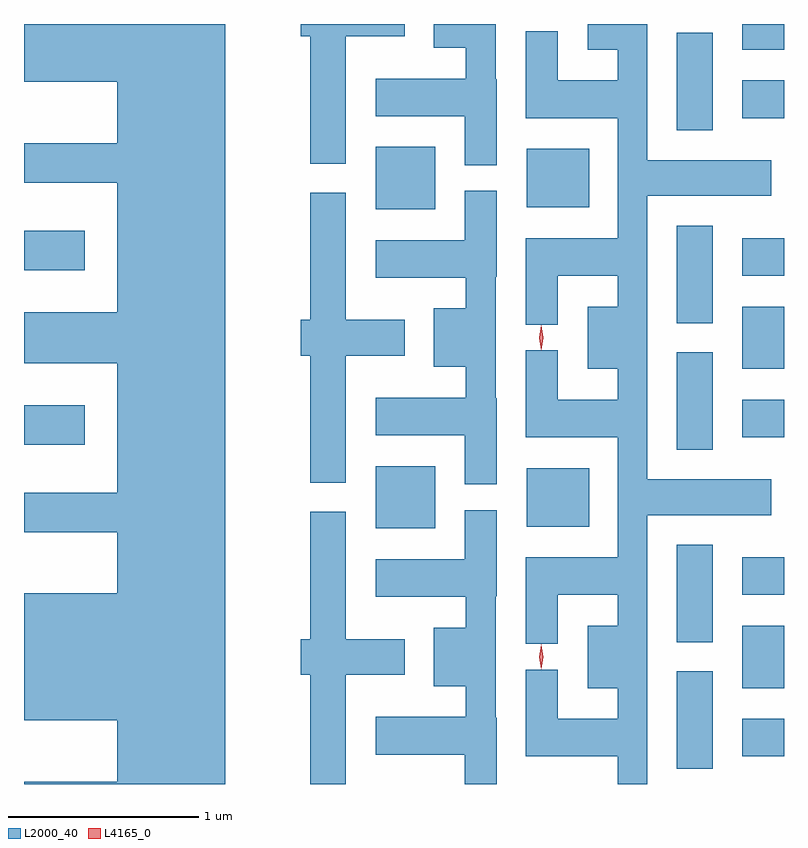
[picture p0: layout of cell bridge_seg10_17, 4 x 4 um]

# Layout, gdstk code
import gdstk
lib = gdstk.Library(unit=1e-6, precision=1e-09)
def R(c, l, rs):  # rectangles x0, y0, x1, y1
    for r in rs: c.add(gdstk.rectangle(r[:2], r[2:], *l))
def P(c, l, *ps):  # polygons
    for p in ps: c.add(gdstk.Polygon(p, *l))
L2000_40 = (2000, 40)
L4165_0 = (4165, 0)

bridge_seg10_17 = lib.new_cell('bridge_seg10_17')
R(bridge_seg10_17, L2000_40, [(1788.376,2160.181,1788.564,2160.694), (1788.721,2160.246,1788.94,2160.444), (1788.721,2160.606,1788.94,2160.934), (1788.376,2160.846,1788.564,2161.359), (1788.721,2161.096,1788.94,2161.294), (1786.791,2161.446,1787.104,2161.774), (1787.586,2161.456,1787.914,2161.764), (1788.376,2161.861,1788.564,2162.374), (1784.94,2161.886,1785.259,2162.094), (1788.721,2161.926,1788.94,2162.124), (1788.721,2162.286,1788.94,2162.614), (1788.376,2162.526,1788.564,2163.039), (1788.721,2162.776,1788.94,2162.974), (1784.94,2162.806,1785.259,2163.014), (1786.791,2163.126,1787.104,2163.454), (1787.586,2163.136,1787.914,2163.444), (1788.376,2163.541,1788.564,2164.054), (1788.721,2163.606,1788.94,2163.804), (1788.721,2163.966,1788.94,2164.101)])
P(bridge_seg10_17, L2000_40, [(1785.999,2164.101),(1784.94,2164.101),(1784.94,2163.796),(1785.431,2163.796),(1785.431,2163.474),(1784.94,2163.474),(1784.94,2163.266),(1785.431,2163.266),(1785.431,2162.584),(1784.94,2162.584),(1784.94,2162.316),(1785.431,2162.316),(1785.431,2161.634),(1784.94,2161.634),(1784.94,2161.426),(1785.431,2161.426),(1785.431,2161.104),(1784.94,2161.104),(1784.94,2160.436),(1785.431,2160.436),(1785.431,2160.114),(1784.94,2160.114),(1784.94,2160.101),(1785.999,2160.101)],
  [(1788.219,2161.516),(1788.874,2161.516),(1788.874,2161.704),(1788.219,2161.704),(1788.219,2163.196),(1788.874,2163.196),(1788.874,2163.384),(1788.219,2163.384),(1788.219,2164.101),(1787.906,2164.101),(1787.906,2163.966),(1788.066,2163.966),(1788.066,2163.804),(1787.749,2163.804),(1787.749,2164.063),(1787.581,2164.063),(1787.581,2163.606),(1788.066,2163.606),(1788.066,2162.974),(1787.581,2162.974),(1787.581,2162.518),(1787.749,2162.518),(1787.749,2162.776),(1788.066,2162.776),(1788.066,2162.614),(1787.906,2162.614),(1787.906,2162.286),(1788.066,2162.286),(1788.066,2162.124),(1787.749,2162.124),(1787.749,2162.383),(1787.581,2162.383),(1787.581,2161.926),(1788.066,2161.926),(1788.066,2161.294),(1787.581,2161.294),(1787.581,2160.838),(1787.749,2160.838),(1787.749,2161.096),(1788.066,2161.096),(1788.066,2160.934),(1787.906,2160.934),(1787.906,2160.606),(1788.066,2160.606),(1788.066,2160.444),(1787.749,2160.444),(1787.749,2160.703),(1787.581,2160.703),(1787.581,2160.246),(1788.066,2160.246),(1788.066,2160.101),(1788.219,2160.101)],
  [(1786.634,2164.036),(1786.944,2164.036),(1786.944,2164.101),(1786.396,2164.101),(1786.396,2164.036),(1786.446,2164.036),(1786.446,2163.366),(1786.634,2163.366)],
  [(1787.429,2163.81),(1787.424,2163.81),(1787.424,2164.101),(1787.096,2164.101),(1787.096,2163.976),(1787.266,2163.976),(1787.266,2163.814),(1786.791,2163.814),(1786.791,2163.616),(1787.261,2163.616),(1787.261,2163.358),(1787.429,2163.358)],
  [(1787.429,2162.13),(1787.424,2162.13),(1787.424,2162.77),(1787.429,2162.77),(1787.429,2163.223),(1787.261,2163.223),(1787.261,2162.964),(1786.791,2162.964),(1786.791,2162.766),(1787.266,2162.766),(1787.266,2162.604),(1787.096,2162.604),(1787.096,2162.296),(1787.266,2162.296),(1787.266,2162.134),(1786.791,2162.134),(1786.791,2161.936),(1787.261,2161.936),(1787.261,2161.678),(1787.429,2161.678)],
  [(1786.634,2162.356),(1786.944,2162.356),(1786.944,2162.544),(1786.634,2162.544),(1786.634,2163.214),(1786.446,2163.214),(1786.446,2162.544),(1786.396,2162.544),(1786.396,2162.356),(1786.446,2162.356),(1786.446,2161.686),(1786.634,2161.686)],
  [(1787.429,2160.45),(1787.424,2160.45),(1787.424,2161.09),(1787.429,2161.09),(1787.429,2161.543),(1787.261,2161.543),(1787.261,2161.284),(1786.791,2161.284),(1786.791,2161.086),(1787.266,2161.086),(1787.266,2160.924),(1787.096,2160.924),(1787.096,2160.616),(1787.266,2160.616),(1787.266,2160.454),(1786.791,2160.454),(1786.791,2160.256),(1787.261,2160.256),(1787.261,2160.101),(1787.429,2160.101)],
  [(1786.634,2160.676),(1786.944,2160.676),(1786.944,2160.864),(1786.634,2160.864),(1786.634,2161.534),(1786.446,2161.534),(1786.446,2160.864),(1786.396,2160.864),(1786.396,2160.676),(1786.446,2160.676),(1786.446,2160.101),(1786.634,2160.101)])
P(bridge_seg10_17, L4165_0, [(1787.662,2160.704),(1787.662,2160.705),(1787.652,2160.77),(1787.662,2160.835),(1787.662,2160.836),(1787.663,2160.835),(1787.672,2160.77),(1787.663,2160.705)],
  [(1787.662,2162.384),(1787.662,2162.385),(1787.652,2162.45),(1787.662,2162.515),(1787.662,2162.516),(1787.663,2162.515),(1787.672,2162.45),(1787.663,2162.385)])

lib.write_gds('bridge_seg10_17.gds')
